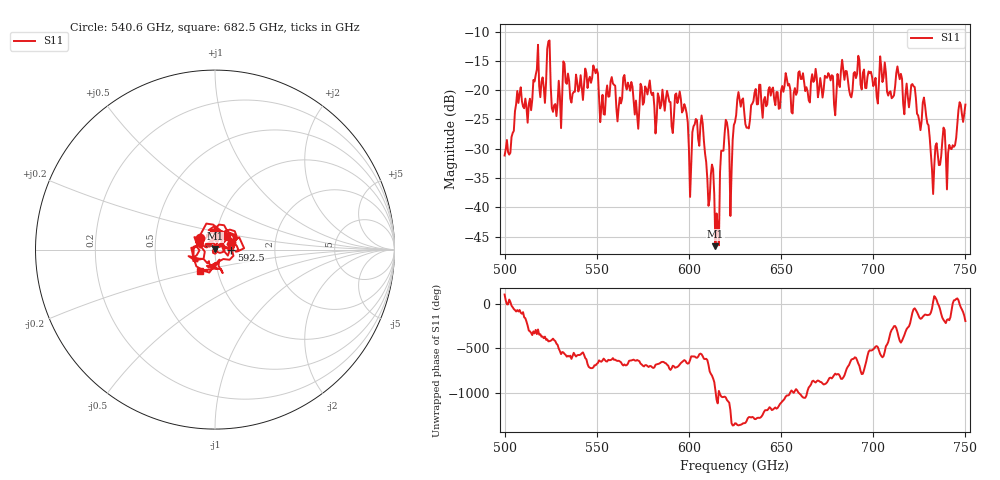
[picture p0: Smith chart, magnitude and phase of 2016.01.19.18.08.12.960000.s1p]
!Created with skrf (http://scikit-rf.org).
# GHz S RI R 50.0
!freq ReS11 ImS11
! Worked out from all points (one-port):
!   401 points, 500 GHz to 750 GHz, reference 50 ohm
!   lowest |S11| = -46.6 dB at 614.4 GHz (marker M1), VSWR 1.01, Z = 49.9 + j0.449 ohm
!   |S11| at or under -10 dB: start of sweep to end of sweep
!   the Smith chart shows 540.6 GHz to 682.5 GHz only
!   S11 on the Smith chart (normalised r, x): 540.6 GHz: 0.84, +0.11; 592.5 GHz: 1.20, -0.00; 682.5 GHz: 0.82, -0.20
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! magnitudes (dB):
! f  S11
! 500 GHz  -31.2
! 516.9 GHz  -17.4
! 520.6 GHz  -17.8
! 523.8 GHz  -11.7
! 526.9 GHz  -22.6
! 531.2 GHz  -21.0
! 540.6 GHz  -19.6
! 562.5 GHz  -21.3
! 565.6 GHz  -19.2
! 571.9 GHz  -24.2
! 577.5 GHz  -20.7
! 592.5 GHz  -20.8
! 593.8 GHz  -22.2
! 600.6 GHz  -38.2
! 607.5 GHz  -25.7
! 614.4 GHz  -46.6
! 615.6 GHz  -43.2
! 619.4 GHz  -27.4
! 623.1 GHz  -34.1
! 625 GHz  -25.5
! 656.2 GHz  -24.0
! 682.5 GHz  -16.7
! 687.5 GHz  -20.9
! 705 GHz  -18.6
! 718.8 GHz  -21.1
! 728.1 GHz  -22.7
! 732.5 GHz  -37.7
! 750 GHz  -22.5
